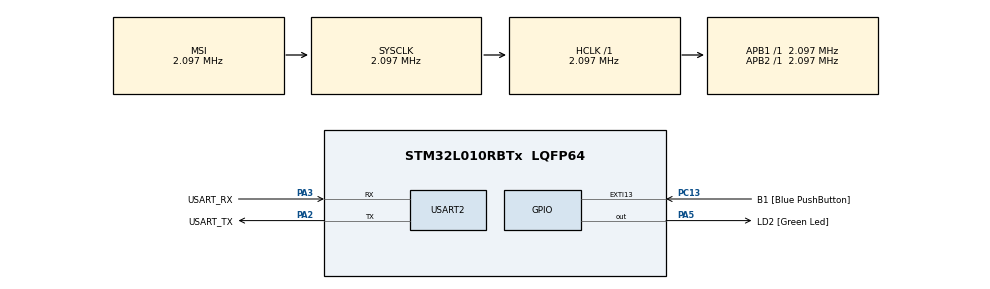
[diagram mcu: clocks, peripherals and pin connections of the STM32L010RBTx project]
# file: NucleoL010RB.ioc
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FREERTOS.Tasks01=ChronoLogTask,24,128,StartChronoLogging,Default,NULL,Dynamic,NULL,NULL
Mcu.Family=STM32L0
Mcu.Name=STM32L010RBTx
Mcu.Package=LQFP64
NVIC.TIM2_IRQn=true\:3\:0\:false\:false\:true\:false\:false\:true\:true
NVIC.TimeBase=TIM2_IRQn
NVIC.TimeBaseIP=TIM2
PA13.GPIO_Label=TMS
PA13.Mode=Serial_Wire
PA13.Signal=SYS_SWDIO
PA14.GPIO_Label=TCK
PA14.Mode=Serial_Wire
PA14.Signal=SYS_SWCLK
PA2.GPIO_Label=USART_TX
PA2.Mode=Asynchronous
PA2.Signal=USART2_TX
PA3.GPIO_Label=USART_RX
PA3.Mode=Asynchronous
PA3.Signal=USART2_RX
PA5.GPIO_Label=LD2 [Green Led]
PA5.Signal=GPIO_Output
PC13.GPIO_Label=B1 [Blue PushButton]
PC13.GPIO_ModeDefaultEXTI=GPIO_MODE_IT_FALLING
PC13.Signal=GPXTI13
PC14-OSC32_IN.Mode=LSE-External-Oscillator
PC14-OSC32_IN.Signal=RCC_OSC32_IN
PC15-OSC32_OUT.Mode=LSE-External-Oscillator
PC15-OSC32_OUT.Signal=RCC_OSC32_OUT
PH0-OSC_IN.GPIO_Label=MCO
PH0-OSC_IN.Mode=HSE-External-Clock-Source
PH0-OSC_IN.Signal=RCC_OSC_IN
ProjectManager.HeapSize=0x200
ProjectManager.StackSize=0x400
ProjectManager.TargetToolchain=CMake
RCC.AHBFreq_Value=2097000
RCC.APB1Freq_Value=2097000
RCC.APB1TimFreq_Value=2097000
RCC.APB2Freq_Value=2097000
RCC.APB2TimFreq_Value=2097000
RCC.HSE_VALUE=8000000
RCC.HSI16_VALUE=16000000
RCC.HSI48_VALUE=48000000
RCC.HSI_VALUE=16000000
RCC.MSI_VALUE=2097000
RCC.SYSCLKFreq_VALUE=2097000
RCC.VCOOutputFreq_Value=48000000
USART2.VirtualMode-Asynchronous=VM_ASYNC
VP_FREERTOS_VS_CMSIS_V2.Mode=CMSIS_V2
VP_SYS_VS_tim2.Mode=TIM2
board=NUCLEO-L010RB

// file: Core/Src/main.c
/* USER CODE BEGIN Header */
/**
  ******************************************************************************
  * @file           : main.c
  * @brief          : Main program body
  ******************************************************************************
  * @attention
  *
  * Copyright (c) 2025 STMicroelectronics.
  * All rights reserved.
  *
  * This software is licensed under terms that can be found in the LICENSE file
  * in the root directory of this software component.
  * If no LICENSE file comes with this software, it is provided AS-IS.
  *
  ******************************************************************************
  */
/* USER CODE END Header */
#include "main.h"
#include "cmsis_os.h"

/* USER CODE BEGIN Includes */
#include "ChronoLog.h"
/* USER CODE END Includes */

UART_HandleTypeDef huart2;

/* Definitions for ChronoLogTask */
osThreadId_t ChronoLogTaskHandle;

const osThreadAttr_t ChronoLogTask_attributes = {
  .name = "ChronoLogTask",
  .stack_size = 512 * 4,
  .priority = (osPriority_t) osPriorityNormal,
};

/* USER CODE BEGIN PV */
ChronoLogger logger("System", CHRONOLOG_LEVEL_DEBUG);
ChronoLogger sensorLogger("Sensors", CHRONOLOG_LEVEL_DEBUG);
ChronoLogger networkLogger("Network", CHRONOLOG_LEVEL_DEBUG);

/* Definitions for SensorTask */
osThreadId_t SensorTaskHandle;
const osThreadAttr_t SensorTask_attributes = {
  .name = "SensorTask",
  .stack_size = 512 * 4,
  .priority = (osPriority_t) osPriorityNormal,
};

/* Definitions for NetworkTask */
osThreadId_t NetworkTaskHandle;
const osThreadAttr_t NetworkTask_attributes = {
  .name = "NetworkTask",
  .stack_size = 512 * 4,
  .priority = (osPriority_t) osPriorityNormal,
};
/* USER CODE END PV */

void SystemClock_Config(void);
static void MX_GPIO_Init(void);
static void MX_USART2_UART_Init(void);
void StartChronoLogging(void *argument);

/* USER CODE BEGIN PFP */
void StartSensorTask(void *argument);
void StartNetworkTask(void *argument);
/* USER CODE END PFP */

int main(void)
{

  /* MCU Configuration--------------------------------------------------------*/

  /* Reset of all peripherals, Initializes the Flash interface and the Systick. */
  HAL_Init();

  /* Configure the system clock */
  SystemClock_Config();

  /* Initialize all configured peripherals */
  MX_GPIO_Init();
  MX_USART2_UART_Init();
  /* USER CODE BEGIN 2 */
  logger.setUartHandler(&huart2);

  logger.debug("STM32L010 RTOS Logging Example Starting...");
  logger.info("Logger initialized successfully at DEBUG level");
  /* USER CODE END 2 */

  /* Init scheduler */
  osKernelInitialize();

  /* Create the thread(s) */
  /* creation of ChronoLogTask */
  ChronoLogTaskHandle = osThreadNew(StartChronoLogging, NULL, &ChronoLogTask_attributes);

  /* USER CODE BEGIN RTOS_THREADS */
  /* add threads, ... */
  SensorTaskHandle = osThreadNew(StartSensorTask, NULL, &SensorTask_attributes);
  NetworkTaskHandle = osThreadNew(StartNetworkTask, NULL, &NetworkTask_attributes);
  /* USER CODE END RTOS_THREADS */

  /* Start scheduler */
  osKernelStart();

  /* We should never get here as control is now taken by the scheduler */

  /* Infinite loop */
  while (1)
  {

  }
}

void SystemClock_Config(void)
{
  RCC_OscInitTypeDef RCC_OscInitStruct = {};
  RCC_ClkInitTypeDef RCC_ClkInitStruct = {};
  RCC_PeriphCLKInitTypeDef PeriphClkInit = {};

  /** Configure the main internal regulator output voltage
  */
  __HAL_PWR_VOLTAGESCALING_CONFIG(PWR_REGULATOR_VOLTAGE_SCALE1);

  /** Initializes the RCC Oscillators according to the specified parameters
  * in the RCC_OscInitTypeDef structure.
  */
  RCC_OscInitStruct.OscillatorType = RCC_OSCILLATORTYPE_MSI;
  RCC_OscInitStruct.MSIState = RCC_MSI_ON;
  RCC_OscInitStruct.MSICalibrationValue = 0;
  RCC_OscInitStruct.MSIClockRange = RCC_MSIRANGE_5;
  RCC_OscInitStruct.PLL.PLLState = RCC_PLL_NONE;
  if (HAL_RCC_OscConfig(&RCC_OscInitStruct) != HAL_OK)
  {
    Error_Handler();
  }

  /** Initializes the CPU, AHB and APB buses clocks
  */
  RCC_ClkInitStruct.ClockType = RCC_CLOCKTYPE_HCLK|RCC_CLOCKTYPE_SYSCLK
                              |RCC_CLOCKTYPE_PCLK1|RCC_CLOCKTYPE_PCLK2;
  RCC_ClkInitStruct.SYSCLKSource = RCC_SYSCLKSOURCE_MSI;
  RCC_ClkInitStruct.AHBCLKDivider = RCC_SYSCLK_DIV1;
  RCC_ClkInitStruct.APB1CLKDivider = RCC_HCLK_DIV1;
  RCC_ClkInitStruct.APB2CLKDivider = RCC_HCLK_DIV1;

  if (HAL_RCC_ClockConfig(&RCC_ClkInitStruct, FLASH_LATENCY_0) != HAL_OK)
  {
    Error_Handler();
  }
  PeriphClkInit.PeriphClockSelection = RCC_PERIPHCLK_USART2;
  PeriphClkInit.Usart2ClockSelection = RCC_USART2CLKSOURCE_PCLK1;
  if (HAL_RCCEx_PeriphCLKConfig(&PeriphClkInit) != HAL_OK)
  {
    Error_Handler();
  }
}

static void MX_USART2_UART_Init(void)
{

  huart2.Instance = USART2;
  huart2.Init.BaudRate = 115200;
  huart2.Init.WordLength = UART_WORDLENGTH_8B;
  huart2.Init.StopBits = UART_STOPBITS_1;
  huart2.Init.Parity = UART_PARITY_NONE;
  huart2.Init.Mode = UART_MODE_TX_RX;
  huart2.Init.HwFlowCtl = UART_HWCONTROL_NONE;
  huart2.Init.OverSampling = UART_OVERSAMPLING_16;
  huart2.Init.OneBitSampling = UART_ONE_BIT_SAMPLE_DISABLE;
  huart2.AdvancedInit.AdvFeatureInit = UART_ADVFEATURE_NO_INIT;
  if (HAL_UART_Init(&huart2) != HAL_OK)
  {
    Error_Handler();
  }

}

static void MX_GPIO_Init(void)
{
  GPIO_InitTypeDef GPIO_InitStruct = {};

  /* GPIO Ports Clock Enable */
  __HAL_RCC_GPIOC_CLK_ENABLE();
  __HAL_RCC_GPIOH_CLK_ENABLE();
  __HAL_RCC_GPIOA_CLK_ENABLE();

  /*Configure GPIO pin Output Level */
  HAL_GPIO_WritePin(LD2_GPIO_Port, LD2_Pin, GPIO_PIN_RESET);

  /*Configure GPIO pin : B1_Pin */
  GPIO_InitStruct.Pin = B1_Pin;
  GPIO_InitStruct.Mode = GPIO_MODE_IT_FALLING;
  GPIO_InitStruct.Pull = GPIO_NOPULL;
  HAL_GPIO_Init(B1_GPIO_Port, &GPIO_InitStruct);

  /*Configure GPIO pin : LD2_Pin */
  GPIO_InitStruct.Pin = LD2_Pin;
  GPIO_InitStruct.Mode = GPIO_MODE_OUTPUT_PP;
  GPIO_InitStruct.Pull = GPIO_NOPULL;
  GPIO_InitStruct.Speed = GPIO_SPEED_FREQ_LOW;
  HAL_GPIO_Init(LD2_GPIO_Port, &GPIO_InitStruct);

}

/* USER CODE BEGIN 4 */
/**
  * @brief  Function implementing the SensorTask thread.
  * @param  argument: Not used
  * @retval None
  */
void StartSensorTask(void *argument)
{
  for(;;)
  {
    static int sensorValue = 0;
    sensorValue += 5;
    sensorLogger.debug("Reading sensor... Value: %d", sensorValue);

    if (sensorValue > 50) {
      sensorLogger.warn("Sensor value high: %d", sensorValue);
    }

    if (sensorValue > 80) {
      sensorLogger.error("CRITICAL! Sensor value too high: %d", sensorValue);
      sensorValue = 0;
    }

    osDelay(800);
  }
}

/**
  * @brief  Function implementing the NetworkTask thread.
  * @param  argument: Not used
  * @retval None
  */
void StartNetworkTask(void *argument)
{
  for(;;)
  {
    static int packets = 0;
    packets++;
    networkLogger.info("Network status: Connected. Packets: %d", packets);

    if (packets % 10 == 0) {
      networkLogger.warn("Network latency detected");
    }

    osDelay(1200);
  }
}
/* USER CODE END 4 */

void StartChronoLogging(void *argument)
{
  /* USER CODE BEGIN 5 */
  /* Infinite loop */
  for(;;)
  {
    static int heartbeat = 0;
    logger.info("System Heartbeat #%d", ++heartbeat);

    if (heartbeat % 5 == 0) {
      logger.warn("System health check: OK");
    }

    osDelay(3000);
  }
  /* USER CODE END 5 */
}

void HAL_TIM_PeriodElapsedCallback(TIM_HandleTypeDef *htim)
{
  if (htim->Instance == TIM2)
  {
    HAL_IncTick();
  }
}

void Error_Handler(void)
{
  __disable_irq();
  while (1)
  {
  }
}
